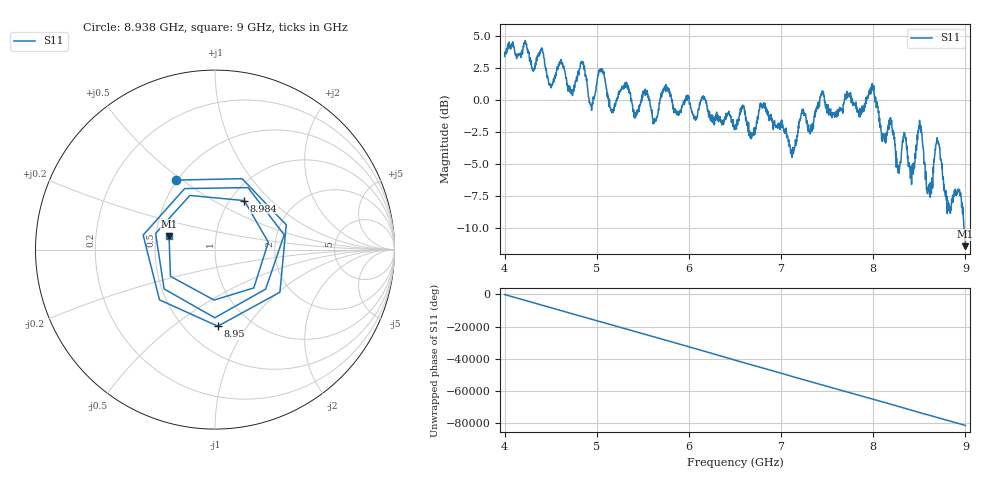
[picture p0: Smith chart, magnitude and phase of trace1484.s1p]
! Created with skrf 1.8.0 (http://scikit-rf.org).
# Hz S RI R 50.0
!freq ReS11 ImS11
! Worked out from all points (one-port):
!   1601 points, 4 GHz to 9 GHz, reference 50 ohm
!   lowest |S11| = -11.5 dB at 9 GHz (marker M1), VSWR 1.73, Z = 29.3 + j4.83 ohm
!   |S11| at or under -10 dB: 8.984395 GHz to end of sweep
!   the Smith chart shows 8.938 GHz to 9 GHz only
!   S11 on the Smith chart (normalised r, x): 8.938 GHz: 0.49, +0.48; 8.95 GHz: 0.71, -0.74; 8.984 GHz: 1.16, +0.70; 9 GHz: 0.59, +0.10
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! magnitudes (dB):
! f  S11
! 4 GHz  3.4
! 4.403 GHz  4.1
! 4.503 GHz  0.9
! 4.625 GHz  2.8
! 4.725 GHz  0.8
! 4.847 GHz  3.0
! 4.934 GHz  -0.5
! 5.044 GHz  2.2
! 5.159 GHz  -0.8
! 5.25 GHz  0.6
! 5.875 GHz  -1.0
! 6.5 GHz  -2.3
! 6.8 GHz  -0.5
! 7.125 GHz  -4.1
! 7.444 GHz  0.7
! 7.75 GHz  0.3
! 7.988 GHz  1.3
! 8.269 GHz  -5.7
! 8.375 GHz  -4.4
! 8.428 GHz  -5.0
! 8.509 GHz  -2.0
! 8.603 GHz  -6.7
! 8.697 GHz  -3.3
! 8.819 GHz  -8.1
! 8.938 GHz  -7.1
! 8.95 GHz  -7.4
! 8.984 GHz  -9.9
! 9 GHz  -11.5
